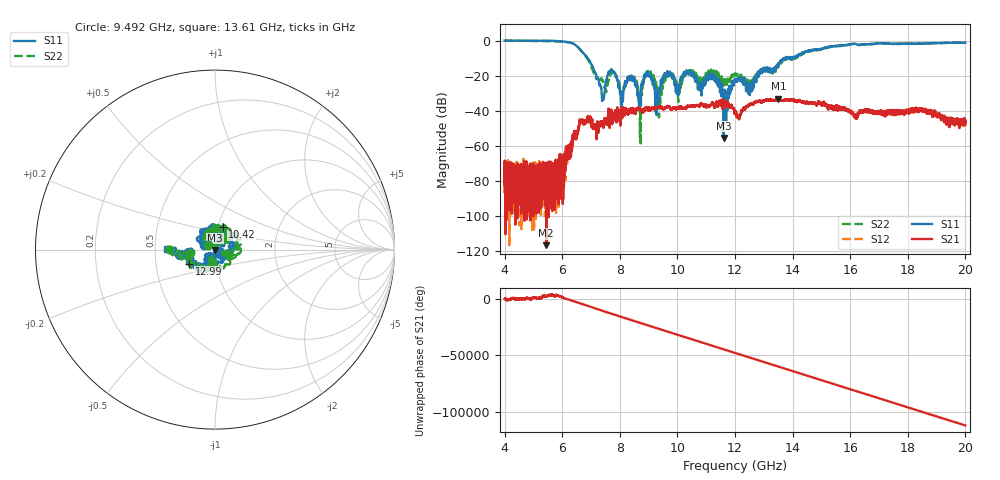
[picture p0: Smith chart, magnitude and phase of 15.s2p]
[Version] 2.0
! Rohde & Schwarz Vector Network Analyzer
! Rohde-Schwarz,ZNL20-2Port,1323001220200009,1.71.1.10-23.02.1.238
! Port Assignments:
! Nominal Port -> Actual Test Port
!  1 -> 1
!  2 -> 2
! Created: GMT+2 2025-01-17 12:11:39
# Hz S RI R 50
[Number of Ports] 2
[Two-Port Data Order] 21_12
! freq[Hz]  S11[Re]  S11[Im]  S21[Re]  S21[Im]  S12[Re]  S12[Im]  S22[Re]  S22[Im]
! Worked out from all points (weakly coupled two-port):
!   16001 points, 4 GHz to 20 GHz, reference 50 ohm
!   highest |S21| = -33.00 dB at 13.51 GHz (marker M1); lowest = -116.5 dB at 5.448 GHz (marker M2)
!   lowest |S11| = -55.4 dB at 11.61 GHz (marker M3), VSWR 1.00, Z = 50 - j0.169 ohm
!   |S11| at or under -10 dB: 6.884 GHz to 13.7 GHz (6.817 GHz wide, 66.2 % of centre); 13.71223 GHz to 13.74182 GHz (29.59 MHz wide, 0.216 % of centre); 13.94222 GHz to 13.96584 GHz (23.62 MHz wide, 0.169 % of centre) (the widest 3 of 9)
!   |S22| runs from -59.8 to 0.0 dB; largest |S21 - S12| = 0.0023
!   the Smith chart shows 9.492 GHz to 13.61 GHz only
!   S11 on the Smith chart (normalised r, x): 9.492 GHz: 0.88, +0.04; 10.42 GHz: 1.05, +0.27; 12.99 GHz: 0.74, -0.12; 13.61 GHz: 0.57, +0.00
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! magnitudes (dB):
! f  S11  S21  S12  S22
! 4 GHz  0.0  -81.2  -85.6  -0.2
! 5.448 GHz  0.0  -116.5  -79.6  -0.3
! 6.042 GHz  -0.6  -72.7  -66.8  -0.7
! 6.667 GHz  -6.0  -45.6  -45.0  -6.1
! 7.41 GHz  -32.2  -46.5  -47.2  -23.0
! 7.722 GHz  -16.8  -42.5  -42.6  -18.9
! 8.049 GHz  -40.7  -39.5  -39.5  -32.7
! 8.429 GHz  -22.9  -40.3  -40.4  -21.5
! 8.715 GHz  -35.3  -39.2  -39.1  -39.0
! 9.004 GHz  -20.4  -38.3  -38.6  -18.7
! 9.334 GHz  -27.8  -38.0  -38.0  -31.0
! 9.492 GHz  -23.6  -38.9  -38.7  -26.5
! 10 GHz  -25.5  -38.3  -38.4  -26.7
! 10.42 GHz  -17.6  -37.3  -37.3  -17.3
! 11.61 GHz  -55.4  -33.5  -33.6  -25.2
! 12 GHz  -22.3  -41.5  -41.8  -19.3
! 12.99 GHz  -15.7  -34.4  -34.2  -15.8
! 13.51 GHz  -14.2  -33.0  -33.0  -14.2
! 13.61 GHz  -11.4  -33.9  -33.9  -11.8
! 14.67 GHz  -5.4  -35.3  -35.2  -5.9
! 17.33 GHz  -1.7  -41.0  -41.2  -1.8
! 20 GHz  -1.2  -46.3  -45.8  -1.2
